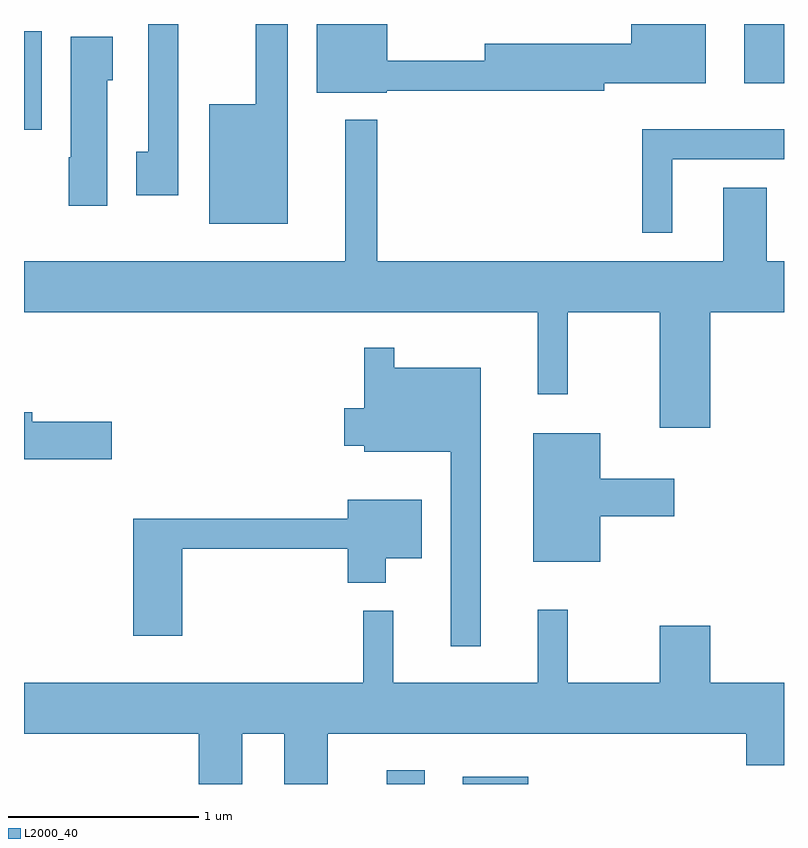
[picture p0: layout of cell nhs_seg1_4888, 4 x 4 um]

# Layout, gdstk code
import gdstk
lib = gdstk.Library(unit=1e-6, precision=1e-09)
def R(c, l, rs):  # rectangles x0, y0, x1, y1
    for r in rs: c.add(gdstk.rectangle(r[:2], r[2:], *l))
def P(c, l, *ps):  # polygons
    for p in ps: c.add(gdstk.Polygon(p, *l))
L2000_40 = (2000, 40)

nhs_seg1_4888 = lib.new_cell('nhs_seg1_4888')
R(nhs_seg1_4888, L2000_40, [(333.521,943.712,333.719,943.784), (333.921,943.712,334.264,943.749), (331.611,947.156,331.704,947.674), (335.401,947.401,335.611,947.712)])
P(nhs_seg1_4888, L2000_40, [(332.999,947.712),(332.831,947.712),(332.831,947.289),(332.586,947.289),(332.586,946.661),(332.999,946.661)],
  [(333.52,947.361),(334.664,947.361),(334.664,947.401),(335.199,947.401),(335.199,947.712),(334.806,947.712),(334.806,947.609),(334.036,947.609),(334.036,947.519),(333.524,947.519),(333.524,947.712),(333.151,947.712),(333.151,947.351),(333.52,947.351)],
  [(332.424,947.712),(332.266,947.712),(332.266,947.039),(332.201,947.039),(332.201,946.811),(332.424,946.811)],
  [(332.049,947.416),(332.079,947.416),(332.079,947.644),(331.856,947.644),(331.856,947.01),(331.846,947.01),(331.846,946.756),(332.049,946.756)],
  [(335.611,946.464),(335.519,946.464),(335.519,946.849),(335.291,946.849),(335.291,946.464),(333.469,946.464),(333.469,947.208),(333.301,947.208),(333.301,946.464),(331.611,946.464),(331.611,946.196),(334.316,946.196),(334.316,945.763),(334.474,945.763),(334.474,946.196),(334.956,946.196),(334.956,945.586),(335.224,945.586),(335.224,946.196),(335.611,946.196)],
  [(335.024,947.001),(335.611,947.001),(335.611,947.159),(334.866,947.159),(334.866,946.613),(335.024,946.613)],
  [(334.014,945.904),(333.559,945.904),(333.559,946.008),(333.401,946.008),(333.401,945.689),(333.296,945.689),(333.296,945.491),(333.401,945.491),(333.401,945.461),(333.856,945.461),(333.856,944.438),(334.014,944.438)],
  [(332.074,945.619),(331.654,945.619),(331.654,945.669),(331.611,945.669),(331.611,945.421),(332.074,945.421)],
  [(334.644,945.121),(335.034,945.121),(335.034,945.319),(334.644,945.319),(334.644,945.559),(334.291,945.559),(334.291,944.881),(334.644,944.881)],
  [(332.444,944.951),(333.316,944.951),(333.316,944.771),(333.514,944.771),(333.514,944.901),(333.704,944.901),(333.704,945.209),(333.316,945.209),(333.316,945.109),(332.186,945.109),(332.186,944.491),(332.444,944.491)],
  [(332.759,943.976),(332.981,943.976),(332.981,943.712),(333.209,943.712),(333.209,943.976),(335.411,943.976),(335.411,943.811),(335.611,943.811),(335.611,944.244),(335.224,944.244),(335.224,944.544),(334.956,944.544),(334.956,944.244),(334.474,944.244),(334.474,944.628),(334.316,944.628),(334.316,944.244),(333.554,944.244),(333.554,944.623),(333.396,944.623),(333.396,944.244),(331.611,944.244),(331.611,943.976),(332.531,943.976),(332.531,943.712),(332.759,943.712)])

lib.write_gds('nhs_seg1_4888.gds')
